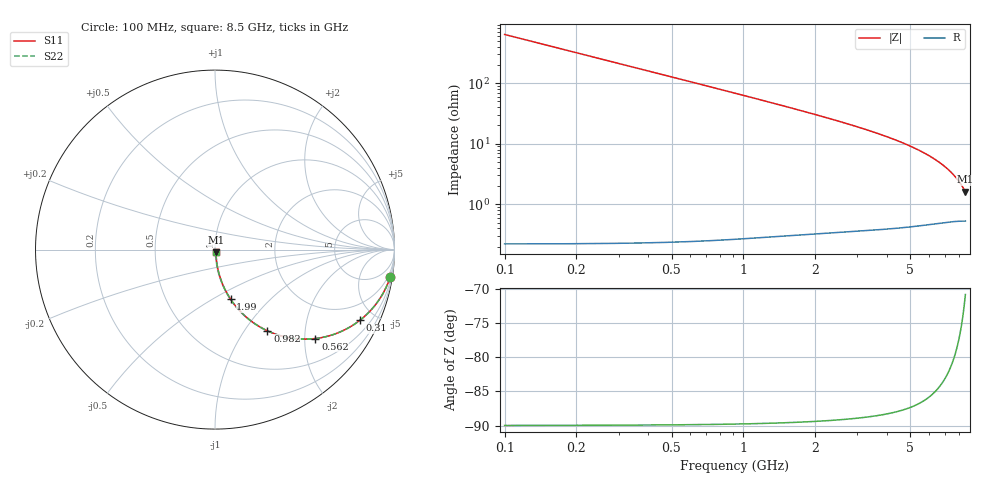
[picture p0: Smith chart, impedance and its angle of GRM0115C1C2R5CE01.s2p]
!Murata Part Number: GRM0115C1C2R5CE01
!These Parameters are Measured in Series Mode Connection
!Data Generated on Mar 30, 2021
!  o--ll--o
!Port1  Port2
!  o------o
!Operation Temp=25[degC], DC Bias Voltage=0[V]
!Freq. Start=100[MHz] Stop=9[GHz] 401[Steps]
# Hz S RI R 50
!Freq.(Hz) S11(Real) S11(Imag) S21(Real) S21(Imag) S12(Real) S12(Imag) S22(Real) S22(Imag)
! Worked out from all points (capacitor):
!   401 points, 100 MHz to 8.5 GHz, reference 50 ohm
!   read as one part in series: C = 2.5 pF near 142 MHz
!   lowest |Z| = 1.61 ohm at 8.5 GHz (marker M1)
!   S11 on the Smith chart (normalised r, x): 100 MHz: 1, -13; 310 MHz: 1.00, -4.10; 562 MHz: 1.00, -2.26; 982 MHz: 1.01, -1.28; 1.99 GHz: 1.01, -0.61; 8.5 GHz: 1.01, -0.03
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1e8  0.9759 -0.1533  0.0241 0.1533  0.0241 0.1533  0.9759 -0.1533
1.21e8  0.965 -0.1834  0.035 0.1834  0.035 0.1834  0.965 -0.1834
1.63e8  0.9383 -0.2403  0.0617 0.2403  0.0617 0.2403  0.9383 -0.2403
2.05e8  0.9058 -0.2918  0.0942 0.2918  0.0942 0.2918  0.9058 -0.2918
2.47e8  0.8688 -0.3372  0.1312 0.3372  0.1312 0.3372  0.8688 -0.3372
3.1e8  0.8077 -0.3936  0.1923 0.3936  0.1923 0.3936  0.8077 -0.3936
4.15e8  0.7006 -0.4572  0.2994 0.4572  0.2994 0.4572  0.7006 -0.4572
5.62e8  0.5599 -0.4953  0.4401 0.4953  0.4401 0.4953  0.5599 -0.4953
6.67e8  0.474 -0.498  0.526 0.498  0.526 0.498  0.474 -0.498
7.72e8  0.4015 -0.4886  0.5985 0.4886  0.5985 0.4886  0.4015 -0.4886
9.82e8  0.2917 -0.4525  0.7083 0.4525  0.7083 0.4525  0.2917 -0.4525
1.213e9  0.2112 -0.4054  0.7888 0.4054  0.7888 0.4054  0.2112 -0.4054
1.507e9  0.1463 -0.3497  0.8537 0.3497  0.8537 0.3497  0.1463 -0.3497
1.99e9  0.0875 -0.2773  0.9125 0.2773  0.9125 0.2773  0.0875 -0.2773
2.914e9  0.0405 -0.1883  0.9595 0.1883  0.9595 0.1883  0.0405 -0.1883
4.3e9  0.0173 -0.1143  0.9827 0.1143  0.9827 0.1143  0.0173 -0.1143
5.707e9  0.00936 -0.0695  0.9906 0.0695  0.9906 0.0695  0.00936 -0.0695
6.484e9  0.00743 -0.0512  0.9926 0.0512  0.9926 0.0512  0.00743 -0.0512
7.114e9  0.00651 -0.0384  0.9935 0.0384  0.9935 0.0384  0.00651 -0.0384
7.87e9  0.00584 -0.025  0.9942 0.025  0.9942 0.025  0.00584 -0.025
8.164e9  0.00566 -0.0202  0.9943 0.0202  0.9943 0.0202  0.00566 -0.0202
8.5e9  0.00549 -0.015  0.9945 0.015  0.9945 0.015  0.00549 -0.015
